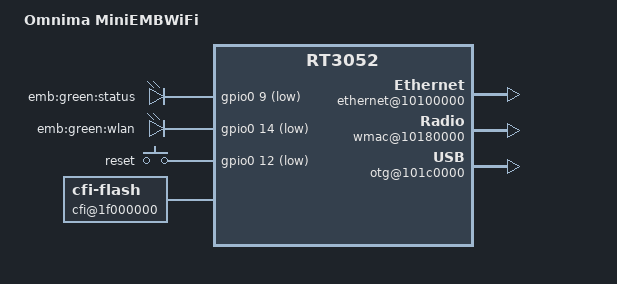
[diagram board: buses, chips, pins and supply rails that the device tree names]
/dts-v1/;

/include/ "rt3050.dtsi"

/ {
	#address-cells = <1>;
	#size-cells = <1>;
	compatible = "OMNI-EMB", "ralink,rt3052-soc";
	model = "Omnima MiniEMBWiFi";

	memorydetect {
		ralink,memory = <0x0 0x200000 0x4000000>;
	};

	chosen {
		bootargs = "console=ttyS0,57600 mtdparts=1f000000.cfi:192k(u-boot)ro,64k(u-boot-env)ro,64k(factory)ro,7872k@0x50000(firmware)";
	};

	palmbus@10000000 {
		sysc@0 {
			ralink,pinmmux = "i2c", "spi", "uartlite", "jtag", "mdio", "sdram", "rgmii";
			ralink,uartmux = "gpio";
			ralink,wdtmux = <1>;
		};

		gpio0: gpio@600 {
			status = "okay";
		};
	};

	gpio-leds {
		compatible = "gpio-leds";
		status {
			label = "emb:green:status";
			gpios = <&gpio0 9 1>;
		};
		wlan {
			label = "emb:green:wlan";
			gpios = <&gpio0 14 1>;
		};
	};

	gpio-keys-polled {
		compatible = "gpio-keys-polled";
		#address-cells = <1>;
		#size-cells = <0>;
		poll-interval = <20>;
		reset {
			label = "reset";
			gpios = <&gpio0 12 1>;
			linux,code = <0x198>;
		};
	};

	cfi@1f000000 {
		compatible = "cfi-flash";
		reg = <0x1f000000 0x800000>;

		bank-width = <2>;
		device-width = <2>;
		#address-cells = <1>;
		#size-cells = <1>;
	};

	ethernet@10100000 {
		status = "okay";
	};

	esw@10110000 {
		status = "okay";
		ralink,portmap = <0x2f>;
	};

	wmac@10180000 {
		status = "okay";
	};

	otg@101c0000 {
		status = "okay";
	};
};
